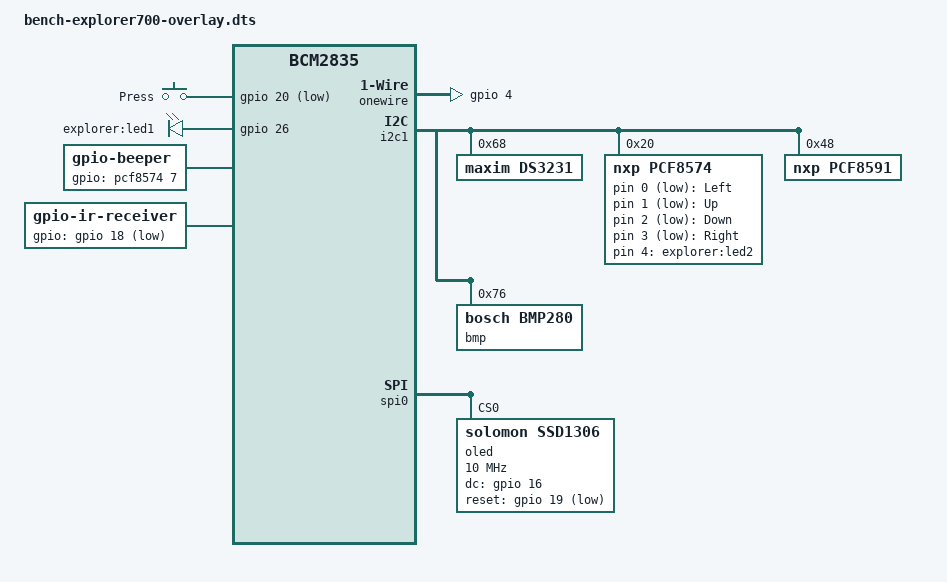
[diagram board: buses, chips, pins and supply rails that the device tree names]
/*
 * bench-explorer700: eleven peripherals of a JOY-iT RB-Explorer700, bound
 * to in-tree drivers, on a Raspberry Pi 3.
 *
 * Declarative only. Nothing here reads, writes or configures a device: it
 * says which driver owns which address or line, and the drivers do the
 * rest. The vendor's own software for this board is Python talking to
 * smbus and RPi.GPIO, and replacing that with a hardware description is
 * the entire point of Project 6.
 *
 * Applied with "dtoverlay=bench-explorer700" in config.txt, which
 * kas/bench-explorer.yml puts there through RPI_EXTRA_CONFIG.
 *
 * EVERY PIN NUMBER BELOW CAME FROM THE VENDOR MANUAL, NOT FROM A SCHEMATIC
 *
 * Joy-it RB-Explorer700 manual, 16 November 2020, page 3: a block diagram
 * per peripheral, each signal labelled with a Raspberry Pi BCM number.
 * Page 2 fixes the convention: "All pins listed here refer to the
 * GPIO/BCM pins of the Raspberry Pi."
 *
 * That is the best source available short of a net list, and it is not a
 * net list. projects/06-explorer700/docs/pin-map.md carries every line
 * here with its evidence and a "confirmed" column, and at the time this
 * file was written NOTHING in that column said yes.
 *
 * It also disagrees with the project specification in five places, three
 * of which are in this file: the OLED is SPI and not I2C, the joystick
 * directions are permuted, and the joystick's push contact is on a SoC
 * pin rather than on the expander.
 *
 * SPDX-License-Identifier: MIT
 */

/dts-v1/;
/plugin/;

/ {
	/*
	 * The SoC family string every Raspberry Pi overlay uses, including
	 * on the BCM2837 of a Pi 3. It matches the family rather than the
	 * part and the firmware accepts it across the range.
	 */
	compatible = "brcm,bcm2835";

	/* ------------------------------------------------------------ *
	 * fragment@0: the four I2C devices
	 * ------------------------------------------------------------ */
	fragment@0 {
		target = <&i2c1>;
		__overlay__ {
			#address-cells = <1>;
			#size-cells = <0>;

			/*
			 * Redundant with ENABLE_I2C in the kas file, and
			 * kept so that this overlay describes a working bus
			 * on its own rather than depending on a setting made
			 * somewhere a reader of this file cannot see.
			 */
			status = "okay";

			/*
			 * The clock. rtc-ds1307 covers the DS3231 as well as
			 * the DS1307 the driver is named after, which is why
			 * the vendor manual tells you to "modprobe
			 * rtc-ds1307" for a chip called DS3231.
			 *
			 * It keeps time only with a CR1220 in the holder
			 * (manual chapter 12). Without one it probes, reads
			 * and reports a time that is wrong, which is the
			 * failure that looks like a working clock.
			 */
			ds3231: rtc@68 {
				compatible = "maxim,ds3231";
				reg = <0x68>;
			};

			/*
			 * The I/O expander, and the node three other
			 * fragments reference by label. Eight quasi
			 * bidirectional lines: reading requires the line to
			 * have been left high, which is what makes the
			 * joystick contacts work as inputs with no external
			 * pull-up.
			 *
			 * gpio-line-names is not decoration. It is what
			 * makes "gpioinfo" readable to somebody who has
			 * neither this file nor the manual, and the names
			 * come from the manual's own net labels.
			 *
			 * NO INTERRUPT HERE, ON PURPOSE. The manual puts the
			 * expander's INT output on GPIO21, so the wire
			 * exists and gpio-pcf857x installs an interrupt chip
			 * whenever an irq is given. It is left out because
			 * an open-drain output with no confirmed pull-up,
			 * under an edge-triggered handler, is an interrupt
			 * storm rather than a silent failure. See
			 * docs/BRINGUP.md for the test that has to pass
			 * before this changes, and the diff that changes it.
			 */
			pcf8574: gpio@20 {
				compatible = "nxp,pcf8574";
				reg = <0x20>;
				gpio-controller;
				#gpio-cells = <2>;
				gpio-line-names =
					"joy-left", "joy-up", "joy-down",
					"joy-right", "led2", "button-l3",
					"button-l4", "buzzer";
			};

			/*
			 * The 8-bit ADC and DAC.
			 *
			 * pcf8591 is a hwmon driver with NO of_device_id
			 * table at all, only an i2c_device_id named
			 * "pcf8591". It binds anyway, and the mechanism is
			 * worth naming because the next person to read the
			 * driver will have the same doubt: the I2C core
			 * derives the client name from the compatible
			 * string by taking what follows the comma
			 * (of_alias_from_compatible, drivers/of/base.c), so
			 * "nxp,pcf8591" becomes "pcf8591" and matches.
			 *
			 * All four inputs leave this board through a screw
			 * terminal and a header and nothing is connected to
			 * them here, so the four values in sysfs are
			 * floating inputs until somebody wires one. That is
			 * a property of the board, not of this node, and
			 * explorer-verify reports it rather than printing
			 * four numbers that look like measurements.
			 */
			pcf8591: adc@48 {
				compatible = "nxp,pcf8591";
				reg = <0x48>;
			};

			/*
			 * Pressure and temperature.
			 *
			 * THE ONE PART WHOSE IDENTITY IS UNRESOLVED. The
			 * manual calls it a BMP280 twice, including in the
			 * chapter that talks to it, and a BMP180 once, in
			 * the block diagram that gives the address. Both are
			 * handled by the bmp280 driver and differ by chip
			 * id, so a wrong guess here is a probe failure
			 * naming the id it read, not a silence.
			 *
			 * If it turns out to be a BMP180, the fix is this
			 * compatible string and nothing else; the address is
			 * a parameter below. Both spellings are in the
			 * driver's of_match_table in 6.6.
			 *
			 * 0x76 from the manual. The specification said 0x77,
			 * which is the same part with its address pin
			 * strapped the other way, so i2cdetect settles it.
			 */
			bmp: pressure@76 {
				compatible = "bosch,bmp280";
				reg = <0x76>;
			};
		};
	};

	/* ------------------------------------------------------------ *
	 * fragment@1: the OLED, which is on SPI and not on I2C
	 * ------------------------------------------------------------ */
	fragment@1 {
		target = <&spi0>;
		__overlay__ {
			#address-cells = <1>;
			#size-cells = <0>;
			status = "okay";

			/*
			 * A 128x64 SSD1306 on a 4-wire SPI interface.
			 *
			 * The specification describes this panel as I2C at
			 * 0x3c driven by ssd1307fb. That cannot work on this
			 * board and not for a reason any property would fix:
			 * FB_SSD1307 is "depends on FB && I2C" in the 6.6
			 * Kconfig and the driver is registered with
			 * module_i2c_driver, so it has no SPI probe path at
			 * all. The manual's chapter 16 confirms the bus from
			 * the other side by telling you to enable SPI before
			 * running the display examples.
			 *
			 * So the binding is the DRM driver, ssd130x, whose
			 * SPI transport takes the plain "solomon,ssd1306"
			 * compatible. User space sees /dev/dri/card0, and
			 * /dev/fbN only through DRM_FBDEV_EMULATION, which
			 * explorer.cfg names for exactly that reason.
			 *
			 * dc-gpios is NOT optional: ssd130x-spi does
			 * devm_gpiod_get(dev, "dc", ...) and fails probe
			 * without it, because 4-wire SPI has no room for the
			 * control byte that carries data-versus-command on
			 * I2C. reset-gpios is devm_gpiod_get_optional and is
			 * wired on this board, so it is declared.
			 *
			 * There is deliberately no cs-gpios here. GPIO8 is
			 * chip select because the SPI controller drives it
			 * as CE0; claiming it again in this node would be
			 * two owners on one line.
			 */
			oled: oled@0 {
				compatible = "solomon,ssd1306";
				reg = <0>;
				pinctrl-names = "default";
				pinctrl-0 = <&oled_pins>;

				spi-max-frequency = <10000000>;

				dc-gpios = <&gpio 16 0>;	/* active high */
				reset-gpios = <&gpio 19 1>;	/* active low */

				solomon,width = <128>;
				solomon,height = <64>;
				solomon,page-offset = <0>;
			};
		};
	};

	/*
	 * fragment@2: and the spidev that was already at chip select 0.
	 *
	 * The Raspberry Pi base device tree puts spidev@0 and spidev@1
	 * under spi0. Leaving spidev0 enabled while adding a display at the
	 * same chip select gives two drivers sharing one select line, and
	 * the symptom is a display that works until something opens
	 * /dev/spidev0.0.
	 *
	 * This file is checked against the reference implementation:
	 * arch/arm/boot/dts/overlays/ssd1306-spi-overlay.dts in rpi-6.6.y
	 * binds the same panel on the same bus, and disables spidev0 the
	 * same way. Two deliberate differences from it:
	 *
	 * spidev1 is left ENABLED. The official overlay disables it too,
	 * which is defensible for a general purpose overlay that does not
	 * know what else is on the bus. Here the board is known: chip
	 * select 1 on GPIO7 has nothing on it, so /dev/spidev0.1 stays
	 * available and costs nothing.
	 *
	 * Its fbtft leftovers are not copied. That overlay still carries
	 * bgr, bpp, rotate, fps, buswidth and debug, which were properties
	 * of the fbtft driver it used to bind and are read by nothing in
	 * ssd130x. They are harmless and they are also four parameters in
	 * its __overrides__ that silently do nothing, which is the failure
	 * this repository refuses to ship on purpose.
	 */
	fragment@2 {
		target = <&spidev0>;
		__overlay__ {
			status = "disabled";
		};
	};

	/* ------------------------------------------------------------ *
	 * fragment@3: the things that hang off the root
	 * ------------------------------------------------------------ */
	fragment@3 {
		target-path = "/";
		__overlay__ {

			/*
			 * FIVE KEYS, TWO GPIO CONTROLLERS, ONE INPUT DEVICE.
			 *
			 * Four directions are on the I2C expander and the
			 * push contact is on a SoC pin (manual p3; the
			 * specification put all five on the expander). They
			 * are in one node anyway, because gpio-keys-polled
			 * polls descriptors and does not care which chip
			 * they came from, and because splitting them would
			 * give one physical joystick two event devices that
			 * every consumer would then have to know about.
			 *
			 * Polled rather than interrupt driven: expander
			 * lines are sleeping lines, so a driver using the
			 * atomic GPIO accessors refuses them at probe.
			 * gpio-keys-polled and gpio-beeper both use the
			 * sleeping accessors and are safe.
			 *
			 * THE DIRECTION MAPPING IS THE LEAST CERTAIN THING
			 * IN THIS FILE. It is read off a rendered page of a
			 * PDF, the manual's net labels are single letters,
			 * and a permuted joystick works perfectly and is
			 * wrong. evtest and a thumb settle it in a minute,
			 * and that is acceptance criterion 3.
			 *
			 * All contacts are active low: they close to ground,
			 * and the expander's quasi-bidirectional lines idle
			 * high with no external pull-up needed. The SoC pin
			 * has no such property, so push_pins gives GPIO20 an
			 * internal pull-up.
			 */
			explorer_keys: keys {
				compatible = "gpio-keys-polled";
				poll-interval = <20>;
				autorepeat;

				/*
				 * gpio_keys_polled reads "label" and uses it
				 * as the input device name, falling back to
				 * the platform device name. Set explicitly
				 * because explorer-verify finds this device
				 * by name: matching on the event index
				 * instead would depend on probe order, and
				 * four of these five lines come up over I2C
				 * whenever the expander gets round to it.
				 */
				label = "explorer700-keys";

				key-left {
					label = "Left";
					gpios = <&pcf8574 0 1>;
					linux,code = <105>;	/* KEY_LEFT */
				};
				key-up {
					label = "Up";
					gpios = <&pcf8574 1 1>;
					linux,code = <103>;	/* KEY_UP */
				};
				key-down {
					label = "Down";
					gpios = <&pcf8574 2 1>;
					linux,code = <108>;	/* KEY_DOWN */
				};
				key-right {
					label = "Right";
					gpios = <&pcf8574 3 1>;
					linux,code = <106>;	/* KEY_RIGHT */
				};
				key_push: key-push {
					label = "Press";
					gpios = <&gpio 20 1>;
					linux,code = <28>;	/* KEY_ENTER */
				};
			};

			/*
			 * Both LEDs, on two different controllers again.
			 *
			 * Named for the silkscreen rather than for the
			 * specification, which expected one LED and called
			 * it "explorer:user". There are two on this board
			 * and "user" does not say which, so the acceptance
			 * table carries the changed path with this reason.
			 *
			 * The heartbeat trigger on LED1 is the cheapest
			 * proof of life a headless board has: it needs no
			 * console, no network and nobody watching at the
			 * right moment.
			 */
			leds {
				compatible = "gpio-leds";

				led1: led-1 {
					label = "explorer:led1";
					gpios = <&gpio 26 0>;
					linux,default-trigger = "heartbeat";
				};
				led2: led-2 {
					label = "explorer:led2";
					gpios = <&pcf8574 4 0>;
					default-state = "off";
				};
			};

			/*
			 * The buzzer, on expander line P7.
			 *
			 * gpio-beeper is an input device that accepts
			 * EV_SND/SND_BELL and drives one line, which is a
			 * strange shape until you remember that the console
			 * bell is where kernel beeping comes from. Nothing
			 * in user space needs to know it is a GPIO.
			 *
			 * Active high is an assumption: a buzzer behind a
			 * transistor usually sounds when the base is driven,
			 * and the manual draws the net without a polarity.
			 * beeper_active below flips it without a recompile,
			 * and the failure is a buzzer that sounds constantly
			 * except when asked, which is at least loud.
			 */
			beeper: beeper {
				compatible = "gpio-beeper";
				gpios = <&pcf8574 7 0>;
			};

			/*
			 * The 1-Wire bus for the DS18B20.
			 *
			 * THE PROBE IS NOT ON THE BOARD. Manual chapter 13:
			 * it ships loose and plugs into the three-pin header
			 * by the display, flat side towards the display. So
			 * an empty /sys/bus/w1/devices has two causes that
			 * look identical and are not: no w1_bus_master1 at
			 * all is this overlay or the kernel; a master with
			 * w1_master_slave_count of 0 is a missing probe or a
			 * missing pull-up. explorer-verify separates them.
			 *
			 * The pull is set to up here although the vendor
			 * board is expected to carry 4.7 kOhm on the data
			 * line, because the SoC's internal pull-up is around
			 * 50 kOhm: in parallel with a fitted resistor it
			 * moves the value by about eight percent, and
			 * without one it is the difference between a bus and
			 * nothing. w1_pullup makes it a parameter.
			 */
			onewire: onewire {
				compatible = "w1-gpio";
				pinctrl-names = "default";
				pinctrl-0 = <&w1_pins>;
				gpios = <&gpio 4 0>;
				status = "okay";
			};

			/*
			 * The IR receiver, an LFN0038K demodulating 38 kHz.
			 *
			 * Its output is open collector and idles high, so
			 * the line is active low and takes an internal
			 * pull-up. rc-empty keeps the receiver
			 * protocol-agnostic: scancodes appear through
			 * "ir-keytable -t" with no keymap loaded, which is
			 * what you need before you know what the remote in
			 * the drawer speaks.
			 *
			 * GPIO18 is also a hardware PWM pin, which is why
			 * the specification's fallback of driving the buzzer
			 * with pwm-beeper on GPIO12, 13, 18 or 19 is not
			 * available here: two of those four are taken by
			 * this receiver and by the display's reset.
			 */
			ir: ir-receiver {
				compatible = "gpio-ir-receiver";
				pinctrl-names = "default";
				pinctrl-0 = <&ir_pins>;
				gpios = <&gpio 18 1>;
				linux,rc-map-name = "rc-empty";
			};
		};
	};

	/* ------------------------------------------------------------ *
	 * fragment@4: pin configuration for the three SoC inputs
	 * ------------------------------------------------------------ */
	fragment@4 {
		target = <&gpio>;
		__overlay__ {
			/* brcm,function: 0 input. brcm,pull: 0 none, 1 down, 2 up. */
			w1_pins: w1_pins {
				brcm,pins = <4>;
				brcm,function = <0>;
				brcm,pull = <2>;
			};
			ir_pins: ir_pins {
				brcm,pins = <18>;
				brcm,function = <0>;
				brcm,pull = <2>;
			};
			push_pins: push_pins {
				brcm,pins = <20>;
				brcm,function = <0>;
				brcm,pull = <2>;
			};

			/*
			 * The display's two control lines, as outputs.
			 * gpiolib would set the direction anyway when
			 * ssd130x-spi takes the descriptors, so this is
			 * belt and braces; it is here because the reference
			 * overlay does it, and because it gives the two
			 * pins a place for the parameters below to move.
			 *
			 * Order matters for those parameters: reset is at
			 * byte offset 0 of brcm,pins and dc is at offset 4.
			 */
			oled_pins: oled_pins {
				brcm,pins = <19 16>;	/* reset, dc */
				brcm,function = <1 1>;	/* out, out */
			};
		};
	};

	/*
	 * WHAT IS NOT HERE, AND WHY
	 *
	 * No uart0 fragment. The CP2102 bridge needs the PL011 on GPIO14
	 * and GPIO15, and on a Pi 3 those belong to the Bluetooth radio
	 * until "dtoverlay=disable-bt" moves it. That overlay both frees
	 * the pins and enables the port, and it owns the pin multiplexing
	 * while doing it. A status = "okay" here would be a second owner
	 * for a node whose pinmux this file does not control, which is the
	 * failure the design document's ownership table exists to prevent.
	 * config.txt carries disable-bt, ahead of this overlay.
	 *
	 * No nodes for the L3 and L4 buttons on expander lines P5 and P6.
	 * They are silkscreened on the back of the board, they are not
	 * among the specification's eleven peripherals, they have no
	 * documented function, and the manual's diagram draws its arrows
	 * out of the expander rather than into it, which would make them
	 * outputs. The part is quasi-bidirectional so the drawing cannot
	 * settle it. Binding them as keys on a guess would put two keys
	 * into the input device that might be driving something instead.
	 * They keep their names in gpio-line-names so that gpioinfo says
	 * what they are, and docs/BRINGUP.md has the gpioget that answers
	 * the question.
	 *
	 * No nodes for the sensor header D0 to D3 on GPIO5, 6, 13 and 12,
	 * or for the screw terminal. They are general purpose pins with
	 * nothing attached; they belong to whatever gets plugged in.
	 */

	/*
	 * Parameters.
	 *
	 * These cover what a board revision changes, and nothing else. A
	 * wrong pin number is then a config.txt edit rather than a
	 * recompile, which matters because every pin in this file is
	 * evidence from a manual rather than from a net list.
	 *
	 * Offsets into a GPIO property: bytes 0 to 3 are the phandle, 4 to
	 * 7 the line number, 8 to 11 the flags. So "gpios:4" is the pin
	 * and "gpios:8" is the polarity.
	 *
	 * Choosing between polled and interrupt driven keys is NOT here.
	 * That is a decision about the driver rather than about the board,
	 * the firmware feature that would express it is not documented in
	 * the kernel tree, and a parameter written from memory that
	 * silently does nothing is worse than no parameter. docs/BRINGUP.md
	 * has the source change and the test to run before making it.
	 */
	__overrides__ {
		w1_pin = <&onewire>,"gpios:4",
			 <&w1_pins>,"brcm,pins:0";
		w1_pullup = <&w1_pins>,"brcm,pull:0";

		ir_pin = <&ir>,"gpios:4",
			 <&ir_pins>,"brcm,pins:0";

		led1_pin = <&led1>,"gpios:4";

		push_pin = <&key_push>,"gpios:4",
			   <&push_pins>,"brcm,pins:0";

		dc_pin = <&oled>,"dc-gpios:4",
			 <&oled_pins>,"brcm,pins:4";
		reset_pin = <&oled>,"reset-gpios:4",
			    <&oled_pins>,"brcm,pins:0";
		speed = <&oled>,"spi-max-frequency:0";

		bmp_addr = <&bmp>,"reg:0";
		poll_ms = <&explorer_keys>,"poll-interval:0";
		beeper_active = <&beeper>,"gpios:8";
	};
};
